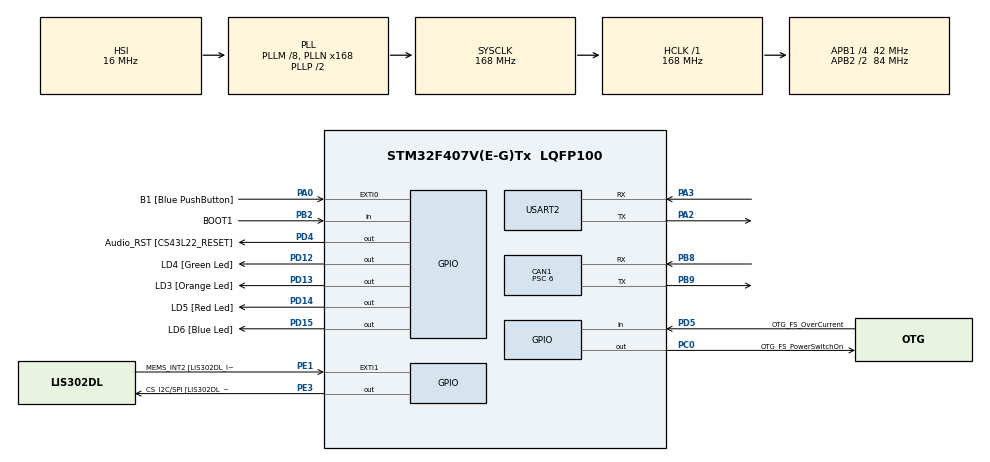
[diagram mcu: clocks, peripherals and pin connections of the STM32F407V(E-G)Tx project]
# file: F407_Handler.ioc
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CAN1.BS1=CAN_BS1_11TQ
CAN1.BS2=CAN_BS2_2TQ
CAN1.CalculateBaudRate=500000
CAN1.CalculateTimeBit=2000
CAN1.CalculateTimeQuantum=142.85714285714286
CAN1.NART=ENABLE
CAN1.Prescaler=6
FREERTOS.INCLUDE_vTaskDelayUntil=1
FREERTOS.Tasks01=defaultTask,0,256,StartDefaultTask,Default,NULL,Dynamic,NULL,NULL
Mcu.Family=STM32F4
Mcu.Name=STM32F407V(E-G)Tx
Mcu.Package=LQFP100
NVIC.CAN1_RX0_IRQn=true\:5\:0\:false\:false\:true\:true\:true\:true\:true
NVIC.PriorityGroup=NVIC_PRIORITYGROUP_4
NVIC.TIM6_DAC_IRQn=true\:15\:0\:false\:false\:true\:false\:false\:true\:true
NVIC.TimeBase=TIM6_DAC_IRQn
NVIC.TimeBaseIP=TIM6
NVIC.USART2_IRQn=true\:5\:0\:false\:false\:true\:true\:true\:true\:true
PA0-WKUP.GPIO_Label=B1 [Blue PushButton]
PA0-WKUP.Signal=GPXTI0
PA10.GPIO_Label=OTG_FS_ID
PA10.GPIO_Mode=GPIO_MODE_AF_PP
PA10.GPIO_PuPd=GPIO_NOPULL
PA10.GPIO_Speed=GPIO_SPEED_FREQ_LOW
PA10.Signal=USB_OTG_FS_ID
PA11.GPIO_Label=OTG_FS_DM
PA11.GPIO_Mode=GPIO_MODE_AF_PP
PA11.GPIO_PuPd=GPIO_NOPULL
PA11.GPIO_Speed=GPIO_SPEED_FREQ_LOW
PA11.Signal=USB_OTG_FS_DM
PA12.GPIO_Label=OTG_FS_DP
PA12.GPIO_Mode=GPIO_MODE_AF_PP
PA12.GPIO_PuPd=GPIO_NOPULL
PA12.GPIO_Speed=GPIO_SPEED_FREQ_LOW
PA12.Signal=USB_OTG_FS_DP
PA13.GPIO_Label=SWDIO
PA13.Mode=Serial_Wire
PA13.Signal=SYS_JTMS-SWDIO
PA14.GPIO_Label=SWCLK
PA14.Mode=Serial_Wire
PA14.Signal=SYS_JTCK-SWCLK
PA2.Mode=Asynchronous
PA2.Signal=USART2_TX
PA3.Mode=Asynchronous
PA3.Signal=USART2_RX
PA4.GPIO_Label=I2S3_WS [CS43L22_LRCK]
PA4.GPIO_Mode=GPIO_MODE_AF_PP
PA4.GPIO_PuPd=GPIO_NOPULL
PA4.GPIO_Speed=GPIO_SPEED_FREQ_LOW
PA4.Signal=I2S3_WS
PA5.GPIO_Label=SPI1_SCK [LIS302DL_SCL/SPC]
PA5.GPIO_Mode=GPIO_MODE_AF_PP
PA5.GPIO_PuPd=GPIO_NOPULL
PA5.GPIO_Speed=GPIO_SPEED_FREQ_LOW
PA5.Signal=SPI1_SCK
PA6.GPIO_Label=SPI1_MISO [LIS302DL_SDO]
PA6.GPIO_Mode=GPIO_MODE_AF_PP
PA6.GPIO_PuPd=GPIO_NOPULL
PA6.GPIO_Speed=GPIO_SPEED_FREQ_LOW
PA6.Signal=SPI1_MISO
PA7.GPIO_Label=SPI1_MOSI [LIS302DL_SDA/SDI/SDO]
PA7.GPIO_Mode=GPIO_MODE_AF_PP
PA7.GPIO_PuPd=GPIO_NOPULL
PA7.GPIO_Speed=GPIO_SPEED_FREQ_LOW
PA7.Signal=SPI1_MOSI
PA9.GPIO_Label=VBUS_FS
PA9.GPIO_Mode=GPIO_MODE_INPUT
PA9.GPIO_PuPd=GPIO_NOPULL
PA9.Signal=USB_OTG_FS_VBUS
PB10.GPIO_Label=CLK_IN [MP45DT02_CLK]
PB10.GPIO_Mode=GPIO_MODE_AF_PP
PB10.GPIO_PuPd=GPIO_NOPULL
PB10.GPIO_Speed=GPIO_SPEED_FREQ_LOW
PB10.Signal=I2S2_CK
PB2.GPIO_Label=BOOT1
PB2.GPIO_Mode=GPIO_MODE_INPUT
PB2.GPIO_PuPd=GPIO_NOPULL
PB2.Signal=GPIO_Input
PB3.GPIO_Label=SWO
PB3.Signal=SYS_JTDO-SWO
PB6.GPIO_Label=Audio_SCL [CS43L22_SCL]
PB6.GPIO_Mode=GPIO_MODE_AF_OD
PB6.GPIO_PuPd=GPIO_NOPULL
PB6.GPIO_Speed=GPIO_SPEED_FREQ_LOW
PB6.Signal=I2C1_SCL
PB8.Mode=CAN_Activate
PB8.Signal=CAN1_RX
PB9.Mode=CAN_Activate
PB9.Signal=CAN1_TX
PC0.GPIO_Label=OTG_FS_PowerSwitchOn
PC0.GPIO_PuPd=GPIO_NOPULL
PC0.GPIO_Speed=GPIO_SPEED_FREQ_LOW
PC0.PinState=GPIO_PIN_SET
PC0.Signal=GPIO_Output
PC10.GPIO_Label=I2S3_SCK [CS43L22_SCLK]
PC10.GPIO_Mode=GPIO_MODE_AF_PP
PC10.GPIO_PuPd=GPIO_NOPULL
PC10.GPIO_Speed=GPIO_SPEED_FREQ_LOW
PC10.Signal=I2S3_CK
PC12.GPIO_Label=I2S3_SD [CS43L22_SDIN]
PC12.GPIO_Mode=GPIO_MODE_AF_PP
PC12.GPIO_PuPd=GPIO_NOPULL
PC12.GPIO_Speed=GPIO_SPEED_FREQ_LOW
PC12.Signal=I2S3_SD
PC14-OSC32_IN.GPIO_Label=PC14-OSC32_IN
PC14-OSC32_IN.Signal=RCC_OSC32_IN
PC15-OSC32_OUT.GPIO_Label=PC15-OSC32_OUT
PC15-OSC32_OUT.Signal=RCC_OSC32_OUT
PC3.GPIO_Label=PDM_OUT [MP45DT02_DOUT]
PC3.GPIO_Mode=GPIO_MODE_AF_PP
PC3.GPIO_PuPd=GPIO_NOPULL
PC3.GPIO_Speed=GPIO_SPEED_FREQ_LOW
PC3.Signal=I2S2_SD
PC7.GPIO_Label=I2S3_MCK [CS43L22_MCLK]
PC7.GPIO_Mode=GPIO_MODE_AF_PP
PC7.GPIO_PuPd=GPIO_NOPULL
PC7.GPIO_Speed=GPIO_SPEED_FREQ_LOW
PC7.Signal=I2S3_MCK
PD12.GPIO_Label=LD4 [Green Led]
PD12.GPIO_PuPd=GPIO_NOPULL
PD12.GPIO_Speed=GPIO_SPEED_FREQ_LOW
PD12.Signal=GPIO_Output
PD13.GPIO_Label=LD3 [Orange Led]
PD13.GPIO_PuPd=GPIO_NOPULL
PD13.GPIO_Speed=GPIO_SPEED_FREQ_LOW
PD13.Signal=GPIO_Output
PD14.GPIO_Label=LD5 [Red Led]
PD14.GPIO_PuPd=GPIO_NOPULL
PD14.GPIO_Speed=GPIO_SPEED_FREQ_LOW
PD14.Signal=GPIO_Output
PD15.GPIO_Label=LD6 [Blue Led]
PD15.GPIO_PuPd=GPIO_NOPULL
PD15.GPIO_Speed=GPIO_SPEED_FREQ_LOW
PD15.Signal=GPIO_Output
PD4.GPIO_Label=Audio_RST [CS43L22_RESET]
PD4.GPIO_PuPd=GPIO_NOPULL
PD4.GPIO_Speed=GPIO_SPEED_FREQ_LOW
PD4.Signal=GPIO_Output
PD5.GPIO_Label=OTG_FS_OverCurrent
PD5.GPIO_Mode=GPIO_MODE_INPUT
PD5.GPIO_PuPd=GPIO_NOPULL
PD5.Signal=GPIO_Input
PE1.GPIO_Label=MEMS_INT2 [LIS302DL_INT2]
PE1.GPIO_ModeDefaultEXTI=GPIO_MODE_EVT_RISING
PE1.GPIO_PuPd=GPIO_NOPULL
PE1.Signal=GPXTI1
PE3.GPIO_Label=CS_I2C/SPI [LIS302DL_CS_I2C/SPI]
PE3.GPIO_PuPd=GPIO_NOPULL
PE3.GPIO_Speed=GPIO_SPEED_FREQ_LOW
PE3.Signal=GPIO_Output
PH0-OSC_IN.GPIO_Label=PH0-OSC_IN
PH0-OSC_IN.Mode=HSE-External-Oscillator
PH0-OSC_IN.Signal=RCC_OSC_IN
PH1-OSC_OUT.GPIO_Label=PH1-OSC_OUT
PH1-OSC_OUT.Mode=HSE-External-Oscillator
PH1-OSC_OUT.Signal=RCC_OSC_OUT
ProjectManager.HeapSize=0x200
ProjectManager.StackSize=0x400
ProjectManager.TargetToolchain=STM32CubeIDE
RCC.48MHZClocksFreq_Value=48000000
RCC.AHBFreq_Value=168000000
RCC.APB1CLKDivider=RCC_HCLK_DIV4
RCC.APB1Freq_Value=42000000
RCC.APB1TimFreq_Value=84000000
RCC.APB2CLKDivider=RCC_HCLK_DIV2
RCC.APB2Freq_Value=84000000
RCC.APB2TimFreq_Value=168000000
RCC.CortexFreq_Value=168000000
RCC.HCLKFreq_Value=168000000
RCC.HSE_VALUE=8000000
RCC.HSI_VALUE=16000000
RCC.LSE_VALUE=32768
RCC.PLLM=8
RCC.PLLN=168
RCC.PLLQ=7
RCC.SYSCLKFreq_VALUE=168000000
RCC.SYSCLKSource=RCC_SYSCLKSOURCE_PLLCLK
RCC.VCOOutputFreq_Value=336000000
USART2.VirtualMode=VM_ASYNC
VP_FREERTOS_VS_CMSIS_V1.Mode=CMSIS_V1
VP_SYS_VS_tim6.Mode=TIM6
board=STM32F407G-DISC1

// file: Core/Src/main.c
/* USER CODE BEGIN Header */
/**
  ******************************************************************************
  * @file           : main.c
  * @brief          : Main program body
  ******************************************************************************
  * @attention
  *
  * Copyright (c) 2026 STMicroelectronics.
  * All rights reserved.
  *
  * This software is licensed under terms that can be found in the LICENSE file
  * in the root directory of this software component.
  * If no LICENSE file comes with this software, it is provided AS-IS.
  *
  ******************************************************************************
  */
/* USER CODE END Header */
#include "main.h"
#include "cmsis_os.h"

/* USER CODE BEGIN Includes */
#include <stdio.h>
#include <string.h>
#include "can_protocol.h"

#include "FreeRTOS.h"
#include "task.h"
#include "semphr.h"
/* USER CODE END Includes */

CAN_HandleTypeDef hcan1;

UART_HandleTypeDef huart2;

osThreadId defaultTaskHandle;
/* USER CODE BEGIN PV */
#define TX_LED_GPIO_Port    GPIOD
#define TX_LED_Pin          GPIO_PIN_12  /* LD4 */
#define RX_LED_GPIO_Port    GPIOD
#define RX_LED_Pin          GPIO_PIN_14  /* LD5 */

#define TASK_STACK_SIZE     256
#define TASK_PRIO_CYCLE     (tskIDLE_PRIORITY + 2)
#define WHEEL_CIRCUMFERENCE_M   1.885f

typedef struct {
    uint16_t time_s;
    uint16_t speed_x10_kmh;
} CycleWaypoint_t;

static const CycleWaypoint_t g_cycleTable[] = {
    {  0,    0 },
    {  2,    250 },
    { 4,  500 },
    { 6,  250 },
    { 10,  900 },
    { 13,  1800 },
    { 15,   800 },
    { 17,    0 },
};
#define CYCLE_POINTS  (sizeof(g_cycleTable) / sizeof(g_cycleTable[0]))

/* RTOS synchronization objects */
static SemaphoreHandle_t hCanTxMutex;
static SemaphoreHandle_t hAckSemaphore;

/* ACK-matching state, only valid while hCanTxMutex is held */
static volatile uint8_t ack_msgtype_exp = 0;
static volatile uint8_t ack_seq_exp     = 0;
static volatile uint8_t ack_ok          = 0;

static uint8_t seq_cycle = 0;
/* USER CODE END PV */

void SystemClock_Config(void);
static void MX_GPIO_Init(void);
static void MX_CAN1_Init(void);
static void MX_USART2_UART_Init(void);
void StartDefaultTask(void const * argument);

/* USER CODE BEGIN PFP */
static void Cycle_Evaluate(uint16_t time_s, uint16_t *speedX10_out, uint16_t *rpm_out, uint8_t *phase_out);
static uint8_t CAN_SendAndWaitAck(uint32_t stdId, uint8_t msgtype, uint8_t seq, uint8_t *payload8);
static void    CAN_SendFault(uint8_t faultCode);
void            UART2_Print(char *str);

static void vTask_VehicleCycle(void *argument);
/* USER CODE END PFP */

/* USER CODE BEGIN 0 */
void UART2_Print(char *str)
{
    HAL_UART_Transmit(&huart2, (uint8_t *)str, strlen(str), HAL_MAX_DELAY);
}

static void Cycle_Evaluate(uint16_t time_s, uint16_t *speedX10_out, uint16_t *rpm_out, uint8_t *phase_out)
{
    uint16_t totalDuration = g_cycleTable[CYCLE_POINTS - 1].time_s;
    uint16_t t = (totalDuration > 0) ? (time_s % totalDuration) : 0;

    for (uint32_t i = 0; i < CYCLE_POINTS - 1; i++)
    {
        uint16_t t0 = g_cycleTable[i].time_s;
        uint16_t t1 = g_cycleTable[i + 1].time_s;

        if (t >= t0 && t <= t1)
        {
            uint16_t v0 = g_cycleTable[i].speed_x10_kmh;
            uint16_t v1 = g_cycleTable[i + 1].speed_x10_kmh;

            // Nội suy tính tốc độ hiện tại
            uint16_t speed = (t1 == t0) ? v0 :
                (uint16_t)(v0 + ((int32_t)(v1 - v0) * (int32_t)(t - t0)) / (int32_t)(t1 - t0));

            // Xác định trạng thái Phase
            uint8_t phase;
            if (v1 > v0)      { phase = CYCLE_PHASE_ACCEL; }
            else if (v1 < v0) { phase = CYCLE_PHASE_DECEL; }
            else              { phase = (v0 == 0) ? CYCLE_PHASE_IDLE : CYCLE_PHASE_CRUISE; }

            // --- TÍNH TOÁN RPM ĐỒNG BỘ TRỰC TIẾP THEO SPEED ---
            uint16_t calculated_rpm = 0;
            if (speed == 0) {
                calculated_rpm = 800; // Động cơ nổ cầm chừng (Idle) khi xe dừng
            } else {
                // Tốc độ tăng/giảm -> RPM thay đổi tỷ lệ thuận
                calculated_rpm = 800 + (speed * 30 / 10);
                if (calculated_rpm > 8000) {
                    calculated_rpm = 8000; // Giới hạn tua máy tối đa
                }
            }

            // Gán kết quả ra các con trỏ đầu ra
            *speedX10_out = speed;
            *rpm_out = calculated_rpm;
            *phase_out = phase;
            return;
        }
    }

    // Trường hợp mặc định an toàn
    *speedX10_out = 0;
    *rpm_out = 800;
    *phase_out = CYCLE_PHASE_IDLE;
}

/* ---- CAN RX ISR callback: only handles ACK/NACK from the Gateway board ---- */
void HAL_CAN_RxFifo0MsgPendingCallback(CAN_HandleTypeDef *hcan)
{
    CAN_RxHeaderTypeDef rxHeader;
    uint8_t rxData[8] = {0};
    BaseType_t xHigherPriorityTaskWoken = pdFALSE;

    if (HAL_CAN_GetRxMessage(hcan, CAN_RX_FIFO0, &rxHeader, rxData) != HAL_OK) { return; }

    uint32_t node = CAN_GET_NODE(rxHeader.StdId);
    uint32_t type = CAN_GET_TYPE(rxHeader.StdId);

    if (node == CAN_NODE_GATEWAY && (type == CAN_MSG_ACK || type == CAN_MSG_NACK))
    {
        HAL_GPIO_TogglePin(GPIOD, LD4_Pin);

        CAN_AckPayload_t *ack = (CAN_AckPayload_t *)rxData;
        if (ack->msgtype_echo == ack_msgtype_exp && ack->seq_echo == ack_seq_exp)
        {
            ack_ok = (type == CAN_MSG_ACK) && (ack->status == CAN_ACK_OK);
            xSemaphoreGiveFromISR(hAckSemaphore, &xHigherPriorityTaskWoken);
        }
    }

    portYIELD_FROM_ISR(xHigherPriorityTaskWoken);
}

/* ---- Send one frame and wait for the matching ACK, auto-retry up to
 *      CAN_MAX_RETRY times. ---- */
static uint8_t CAN_SendAndWaitAck(uint32_t stdId, uint8_t msgtype, uint8_t seq, uint8_t *payload8)
{
    CAN_TxHeaderTypeDef h = {0};
    uint32_t mailbox;
    uint8_t result = 0;

    xSemaphoreTake(hCanTxMutex, portMAX_DELAY);

    h.StdId = stdId;
    h.IDE = CAN_ID_STD;
    h.RTR = CAN_RTR_DATA;
    h.DLC = 8;

    ack_msgtype_exp = msgtype;
    ack_seq_exp = seq;

    for (uint8_t attempt = 0; attempt < CAN_MAX_RETRY; attempt++)
    {
        xSemaphoreTake(hAckSemaphore, 0); /* drain any stale give */
        ack_ok = 0;

        if (HAL_CAN_AddTxMessage(&hcan1, &h, payload8, &mailbox) != HAL_OK) { continue; }

        HAL_GPIO_TogglePin(GPIOD, LD5_Pin);

        if (xSemaphoreTake(hAckSemaphore, pdMS_TO_TICKS(CAN_ACK_TIMEOUT_MS)) == pdTRUE)
        {
            if (ack_ok) { result = 1; break; }
        }
    }

    xSemaphoreGive(hCanTxMutex);
    return result;
}

static void CAN_SendFault(uint8_t faultCode)
{
    CAN_TxHeaderTypeDef h = {0};
    uint8_t txData[8] = {0};
    uint32_t mailbox;
    CAN_FaultPayload_t f = { .fault_code = faultCode };

    h.StdId = CAN_ID_SIM_FAULT;
    h.IDE = CAN_ID_STD;
    h.RTR = CAN_RTR_DATA;
    h.DLC = 8;
    memcpy(txData, &f, sizeof(f));

    xSemaphoreTake(hCanTxMutex, portMAX_DELAY);
    HAL_CAN_AddTxMessage(&hcan1, &h, txData, &mailbox);
    HAL_GPIO_TogglePin(TX_LED_GPIO_Port, TX_LED_Pin);
    xSemaphoreGive(hCanTxMutex);
}

/* ==========================================================================
 * TASK
 * ========================================================================== */
static void vTask_VehicleCycle(void *argument)
{
    (void)argument;
    UART2_Print("[DBG] task entered\r\n");
    TickType_t lastWake = xTaskGetTickCount();
    uint16_t cycleTimeS = 0;

    for (;;)
    {
        CAN_VehicleCyclePayload_t cP = {0};
        cP.seq = seq_cycle++;
        cP.cycle_time_s = cycleTimeS;

        // Gọi trực tiếp hàm evaluate, trỏ thẳng vào các trường của gói CAN 8-byte
        Cycle_Evaluate(cycleTimeS, &cP.speed_x10_kmh, &cP.rpm, &cP.phase);

        uint8_t txData[8];
        memcpy(txData, &cP, sizeof(cP));

        uint32_t t0 = HAL_GetTick();
        uint8_t sendOk = CAN_SendAndWaitAck(CAN_ID_SIM_VEHICLE_CYCLE, CAN_MSG_VEHICLE_CYCLE, cP.seq, txData);
        uint32_t elapsed = HAL_GetTick() - t0;

        char msg[80];
        if (sendOk)
        {
            sprintf(msg, "[CYCLE] t=%us speed=%u.%ukm/h rpm=%u phase=%u\r\n",
                    cycleTimeS, cP.speed_x10_kmh / 10, cP.speed_x10_kmh % 10, cP.rpm, cP.phase);
        }
        else
        {
            sprintf(msg, "[CYCLE] send failed after %u retries\r\n", CAN_MAX_RETRY);
            CAN_SendFault(1);
        }
        UART2_Print(msg);

        cycleTimeS++; /* Tăng thời gian ảo lên 1 giây */
        vTaskDelayUntil(&lastWake, pdMS_TO_TICKS(CAN_CYCLE_SAMPLE_INTERVAL_MS));
    }
}

/* USER CODE END 0 */

int main(void)
{

  /* MCU Configuration--------------------------------------------------------*/

  /* Reset of all peripherals, Initializes the Flash interface and the Systick. */
  HAL_Init();

  /* Configure the system clock */
  SystemClock_Config();

  /* Initialize all configured peripherals */
  MX_GPIO_Init();
  MX_CAN1_Init();
  MX_USART2_UART_Init();
  /* USER CODE BEGIN 2 */
  UART2_Print("F407 Vehicle Cycle Simulator (FreeRTOS) starting...\r\n");

  hCanTxMutex   = xSemaphoreCreateMutex();
  hAckSemaphore = xSemaphoreCreateBinary();
  HAL_CAN_Start(&hcan1);
  HAL_CAN_ActivateNotification(&hcan1, CAN_IT_RX_FIFO0_MSG_PENDING);
  char dbg[64];
  sprintf(dbg, "[DBG] mutex=%p sem=%p\r\n", (void*)hCanTxMutex, (void*)hAckSemaphore);
  UART2_Print(dbg);

      BaseType_t taskResult = xTaskCreate(vTask_VehicleCycle, "Cycle", TASK_STACK_SIZE, NULL, TASK_PRIO_CYCLE, NULL);
      sprintf(dbg, "[DBG] xTaskCreate result=%ld (pdPASS=%ld)\r\n", (long)taskResult, (long)pdPASS);
      UART2_Print(dbg);
//      vTaskStartScheduler();
  /* USER CODE END 2 */

  /* Create the thread(s) */
  /* definition and creation of defaultTask */
  osThreadDef(defaultTask, StartDefaultTask, osPriorityNormal, 0, 256);
  defaultTaskHandle = osThreadCreate(osThread(defaultTask), NULL);

  /* Start scheduler */
  osKernelStart();

  /* We should never get here as control is now taken by the scheduler */

  /* Infinite loop */
  while (1)
  {

  }
}

void SystemClock_Config(void)
{
  RCC_OscInitTypeDef RCC_OscInitStruct = {0};
  RCC_ClkInitTypeDef RCC_ClkInitStruct = {0};

  /** Configure the main internal regulator output voltage
  */
  __HAL_RCC_PWR_CLK_ENABLE();
  __HAL_PWR_VOLTAGESCALING_CONFIG(PWR_REGULATOR_VOLTAGE_SCALE1);

  /** Initializes the RCC Oscillators according to the specified parameters
  * in the RCC_OscInitTypeDef structure.
  */
  RCC_OscInitStruct.OscillatorType = RCC_OSCILLATORTYPE_HSI;
  RCC_OscInitStruct.HSIState = RCC_HSI_ON;
  RCC_OscInitStruct.HSICalibrationValue = RCC_HSICALIBRATION_DEFAULT;
  RCC_OscInitStruct.PLL.PLLState = RCC_PLL_ON;
  RCC_OscInitStruct.PLL.PLLSource = RCC_PLLSOURCE_HSI;
  RCC_OscInitStruct.PLL.PLLM = 8;
  RCC_OscInitStruct.PLL.PLLN = 168;
  RCC_OscInitStruct.PLL.PLLP = RCC_PLLP_DIV2;
  RCC_OscInitStruct.PLL.PLLQ = 7;
  if (HAL_RCC_OscConfig(&RCC_OscInitStruct) != HAL_OK)
  {
    Error_Handler();
  }

  /** Initializes the CPU, AHB and APB buses clocks
  */
  RCC_ClkInitStruct.ClockType = RCC_CLOCKTYPE_HCLK|RCC_CLOCKTYPE_SYSCLK
                              |RCC_CLOCKTYPE_PCLK1|RCC_CLOCKTYPE_PCLK2;
  RCC_ClkInitStruct.SYSCLKSource = RCC_SYSCLKSOURCE_PLLCLK;
  RCC_ClkInitStruct.AHBCLKDivider = RCC_SYSCLK_DIV1;
  RCC_ClkInitStruct.APB1CLKDivider = RCC_HCLK_DIV4;
  RCC_ClkInitStruct.APB2CLKDivider = RCC_HCLK_DIV2;

  if (HAL_RCC_ClockConfig(&RCC_ClkInitStruct, FLASH_LATENCY_5) != HAL_OK)
  {
    Error_Handler();
  }
}

static void MX_CAN1_Init(void)
{

  hcan1.Instance = CAN1;
  hcan1.Init.Prescaler = 6;
  hcan1.Init.Mode = CAN_MODE_NORMAL;
  hcan1.Init.SyncJumpWidth = CAN_SJW_1TQ;
  hcan1.Init.TimeSeg1 = CAN_BS1_11TQ;
  hcan1.Init.TimeSeg2 = CAN_BS2_2TQ;
  hcan1.Init.TimeTriggeredMode = DISABLE;
  hcan1.Init.AutoBusOff = DISABLE;
  hcan1.Init.AutoWakeUp = DISABLE;
  hcan1.Init.AutoRetransmission = ENABLE;
  hcan1.Init.ReceiveFifoLocked = DISABLE;
  hcan1.Init.TransmitFifoPriority = DISABLE;
  if (HAL_CAN_Init(&hcan1) != HAL_OK)
  {
    Error_Handler();
  }
  /* USER CODE BEGIN CAN1_Init 2 */
  CAN_FilterTypeDef canFilter = {0};
      canFilter.FilterBank = 0;
      canFilter.FilterMode = CAN_FILTERMODE_IDMASK;
      canFilter.FilterScale = CAN_FILTERSCALE_32BIT;
      canFilter.FilterIdHigh = (CAN_FILTER_ID_FROM_GATEWAY << 5);
      canFilter.FilterIdLow = 0x0000;
      canFilter.FilterMaskIdHigh = (CAN_FILTER_MASK_NODE_ONLY << 5);
      canFilter.FilterMaskIdLow = 0x0000;
      canFilter.FilterFIFOAssignment = CAN_RX_FIFO0;
      canFilter.FilterActivation = ENABLE;
      canFilter.SlaveStartFilterBank = 14;
      HAL_CAN_ConfigFilter(&hcan1, &canFilter);

  /* USER CODE END CAN1_Init 2 */

}

static void MX_USART2_UART_Init(void)
{

  huart2.Instance = USART2;
  huart2.Init.BaudRate = 115200;
  huart2.Init.WordLength = UART_WORDLENGTH_8B;
  huart2.Init.StopBits = UART_STOPBITS_1;
  huart2.Init.Parity = UART_PARITY_NONE;
  huart2.Init.Mode = UART_MODE_TX_RX;
  huart2.Init.HwFlowCtl = UART_HWCONTROL_NONE;
  huart2.Init.OverSampling = UART_OVERSAMPLING_16;
  if (HAL_UART_Init(&huart2) != HAL_OK)
  {
    Error_Handler();
  }

}

static void MX_GPIO_Init(void)
{
  GPIO_InitTypeDef GPIO_InitStruct = {0};

  /* GPIO Ports Clock Enable */
  __HAL_RCC_GPIOE_CLK_ENABLE();
  __HAL_RCC_GPIOC_CLK_ENABLE();
  __HAL_RCC_GPIOH_CLK_ENABLE();
  __HAL_RCC_GPIOA_CLK_ENABLE();
  __HAL_RCC_GPIOB_CLK_ENABLE();
  __HAL_RCC_GPIOD_CLK_ENABLE();

  /*Configure GPIO pin Output Level */
  HAL_GPIO_WritePin(CS_I2C_SPI_GPIO_Port, CS_I2C_SPI_Pin, GPIO_PIN_RESET);

  /*Configure GPIO pin Output Level */
  HAL_GPIO_WritePin(OTG_FS_PowerSwitchOn_GPIO_Port, OTG_FS_PowerSwitchOn_Pin, GPIO_PIN_SET);

  /*Configure GPIO pin Output Level */
  HAL_GPIO_WritePin(GPIOD, LD4_Pin|LD3_Pin|LD5_Pin|LD6_Pin
                          |Audio_RST_Pin, GPIO_PIN_RESET);

  /*Configure GPIO pin : CS_I2C_SPI_Pin */
  GPIO_InitStruct.Pin = CS_I2C_SPI_Pin;
  GPIO_InitStruct.Mode = GPIO_MODE_OUTPUT_PP;
  GPIO_InitStruct.Pull = GPIO_NOPULL;
  GPIO_InitStruct.Speed = GPIO_SPEED_FREQ_LOW;
  HAL_GPIO_Init(CS_I2C_SPI_GPIO_Port, &GPIO_InitStruct);

  /*Configure GPIO pin : OTG_FS_PowerSwitchOn_Pin */
  GPIO_InitStruct.Pin = OTG_FS_PowerSwitchOn_Pin;
  GPIO_InitStruct.Mode = GPIO_MODE_OUTPUT_PP;
  GPIO_InitStruct.Pull = GPIO_NOPULL;
  GPIO_InitStruct.Speed = GPIO_SPEED_FREQ_LOW;
  HAL_GPIO_Init(OTG_FS_PowerSwitchOn_GPIO_Port, &GPIO_InitStruct);

  /*Configure GPIO pin : PDM_OUT_Pin */
  GPIO_InitStruct.Pin = PDM_OUT_Pin;
  GPIO_InitStruct.Mode = GPIO_MODE_AF_PP;
  GPIO_InitStruct.Pull = GPIO_NOPULL;
  GPIO_InitStruct.Speed = GPIO_SPEED_FREQ_LOW;
  GPIO_InitStruct.Alternate = GPIO_AF5_SPI2;
  HAL_GPIO_Init(PDM_OUT_GPIO_Port, &GPIO_InitStruct);

  /*Configure GPIO pin : B1_Pin */
  GPIO_InitStruct.Pin = B1_Pin;
  GPIO_InitStruct.Mode = GPIO_MODE_IT_RISING;
  GPIO_InitStruct.Pull = GPIO_NOPULL;
  HAL_GPIO_Init(B1_GPIO_Port, &GPIO_InitStruct);

  /*Configure GPIO pin : I2S3_WS_Pin */
  GPIO_InitStruct.Pin = I2S3_WS_Pin;
  GPIO_InitStruct.Mode = GPIO_MODE_AF_PP;
  GPIO_InitStruct.Pull = GPIO_NOPULL;
  GPIO_InitStruct.Speed = GPIO_SPEED_FREQ_LOW;
  GPIO_InitStruct.Alternate = GPIO_AF6_SPI3;
  HAL_GPIO_Init(I2S3_WS_GPIO_Port, &GPIO_InitStruct);

  /*Configure GPIO pins : SPI1_SCK_Pin SPI1_MISO_Pin SPI1_MOSI_Pin */
  GPIO_InitStruct.Pin = SPI1_SCK_Pin|SPI1_MISO_Pin|SPI1_MOSI_Pin;
  GPIO_InitStruct.Mode = GPIO_MODE_AF_PP;
  GPIO_InitStruct.Pull = GPIO_NOPULL;
  GPIO_InitStruct.Speed = GPIO_SPEED_FREQ_LOW;
  GPIO_InitStruct.Alternate = GPIO_AF5_SPI1;
  HAL_GPIO_Init(GPIOA, &GPIO_InitStruct);

  /*Configure GPIO pin : BOOT1_Pin */
  GPIO_InitStruct.Pin = BOOT1_Pin;
  GPIO_InitStruct.Mode = GPIO_MODE_INPUT;
  GPIO_InitStruct.Pull = GPIO_NOPULL;
  HAL_GPIO_Init(BOOT1_GPIO_Port, &GPIO_InitStruct);

  /*Configure GPIO pin : CLK_IN_Pin */
  GPIO_InitStruct.Pin = CLK_IN_Pin;
  GPIO_InitStruct.Mode = GPIO_MODE_AF_PP;
  GPIO_InitStruct.Pull = GPIO_NOPULL;
  GPIO_InitStruct.Speed = GPIO_SPEED_FREQ_LOW;
  GPIO_InitStruct.Alternate = GPIO_AF5_SPI2;
  HAL_GPIO_Init(CLK_IN_GPIO_Port, &GPIO_InitStruct);

  /*Configure GPIO pins : LD4_Pin LD3_Pin LD5_Pin LD6_Pin
                           Audio_RST_Pin */
  GPIO_InitStruct.Pin = LD4_Pin|LD3_Pin|LD5_Pin|LD6_Pin
                          |Audio_RST_Pin;
  GPIO_InitStruct.Mode = GPIO_MODE_OUTPUT_PP;
  GPIO_InitStruct.Pull = GPIO_NOPULL;
  GPIO_InitStruct.Speed = GPIO_SPEED_FREQ_LOW;
  HAL_GPIO_Init(GPIOD, &GPIO_InitStruct);

  /*Configure GPIO pins : I2S3_MCK_Pin I2S3_SCK_Pin I2S3_SD_Pin */
  GPIO_InitStruct.Pin = I2S3_MCK_Pin|I2S3_SCK_Pin|I2S3_SD_Pin;
  GPIO_InitStruct.Mode = GPIO_MODE_AF_PP;
  GPIO_InitStruct.Pull = GPIO_NOPULL;
  GPIO_InitStruct.Speed = GPIO_SPEED_FREQ_LOW;
  GPIO_InitStruct.Alternate = GPIO_AF6_SPI3;
  HAL_GPIO_Init(GPIOC, &GPIO_InitStruct);

  /*Configure GPIO pin : VBUS_FS_Pin */
  GPIO_InitStruct.Pin = VBUS_FS_Pin;
  GPIO_InitStruct.Mode = GPIO_MODE_INPUT;
  GPIO_InitStruct.Pull = GPIO_NOPULL;
  HAL_GPIO_Init(VBUS_FS_GPIO_Port, &GPIO_InitStruct);

  /*Configure GPIO pins : OTG_FS_ID_Pin OTG_FS_DM_Pin OTG_FS_DP_Pin */
  GPIO_InitStruct.Pin = OTG_FS_ID_Pin|OTG_FS_DM_Pin|OTG_FS_DP_Pin;
  GPIO_InitStruct.Mode = GPIO_MODE_AF_PP;
  GPIO_InitStruct.Pull = GPIO_NOPULL;
  GPIO_InitStruct.Speed = GPIO_SPEED_FREQ_LOW;
  GPIO_InitStruct.Alternate = GPIO_AF10_OTG_FS;
  HAL_GPIO_Init(GPIOA, &GPIO_InitStruct);

  /*Configure GPIO pin : OTG_FS_OverCurrent_Pin */
  GPIO_InitStruct.Pin = OTG_FS_OverCurrent_Pin;
  GPIO_InitStruct.Mode = GPIO_MODE_INPUT;
  GPIO_InitStruct.Pull = GPIO_NOPULL;
  HAL_GPIO_Init(OTG_FS_OverCurrent_GPIO_Port, &GPIO_InitStruct);

  /*Configure GPIO pin : Audio_SCL_Pin */
  GPIO_InitStruct.Pin = Audio_SCL_Pin;
  GPIO_InitStruct.Mode = GPIO_MODE_AF_OD;
  GPIO_InitStruct.Pull = GPIO_NOPULL;
  GPIO_InitStruct.Speed = GPIO_SPEED_FREQ_LOW;
  GPIO_InitStruct.Alternate = GPIO_AF4_I2C1;
  HAL_GPIO_Init(Audio_SCL_GPIO_Port, &GPIO_InitStruct);

  /*Configure GPIO pin : MEMS_INT2_Pin */
  GPIO_InitStruct.Pin = MEMS_INT2_Pin;
  GPIO_InitStruct.Mode = GPIO_MODE_EVT_RISING;
  GPIO_InitStruct.Pull = GPIO_NOPULL;
  HAL_GPIO_Init(MEMS_INT2_GPIO_Port, &GPIO_InitStruct);

}

void StartDefaultTask(void const * argument)
{
  /* USER CODE BEGIN 5 */
  /* Infinite loop */
  for(;;)
  {
	  HAL_GPIO_TogglePin(GPIOD, GPIO_PIN_15);
	  osDelay(500);
  }
  /* USER CODE END 5 */
}

void HAL_TIM_PeriodElapsedCallback(TIM_HandleTypeDef *htim)
{
  if (htim->Instance == TIM6)
  {
    HAL_IncTick();
  }
}

void Error_Handler(void)
{
  __disable_irq();
  while (1)
  {
  }
}
